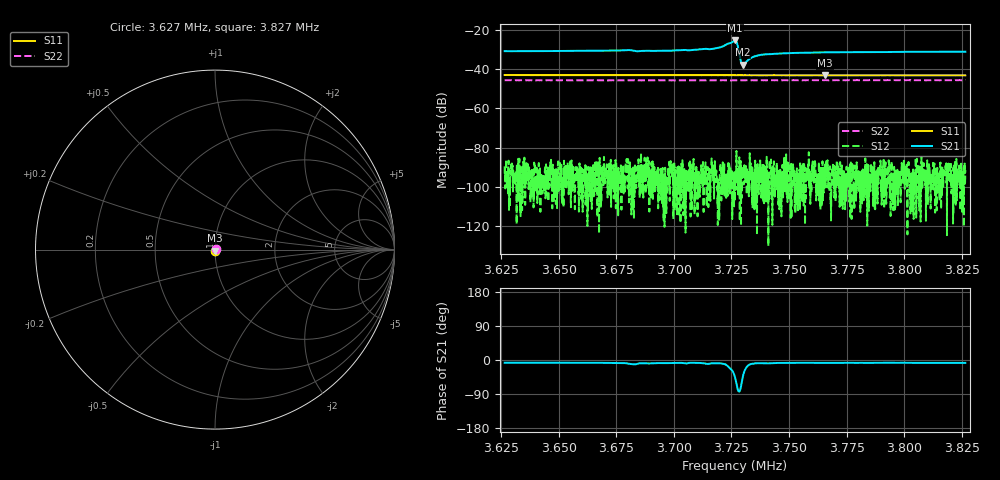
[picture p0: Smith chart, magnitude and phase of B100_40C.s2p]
# Hz S dB R 50.000
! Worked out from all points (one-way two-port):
!   6401 points, 3.627 MHz to 3.827 MHz, reference 50 ohm
!   highest |S21| = -25.43 dB at 3.727 MHz (marker M1); lowest = -37.8 dB at 3.73 MHz (marker M2)
!   lowest |S11| = -43.3 dB at 3.766 MHz (marker M3), VSWR 1.01, Z = 50 - j0.686 ohm
!   |S11| at or under -10 dB: start of sweep to end of sweep
!   |S22| runs from -45.8 to -45.5 dB; largest |S21 - S12| = 0.054
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3626563  -43.02 -92.7  -30.87 -7.1  -89.52 143.2  -45.71 12.9
3659907  -43.09 -92.6  -30.74 -7.5  -100.82 -106.2  -45.71 13.1
3680094  -43.08 -92.7  -30.30 -9.2  -89.63 3.9  -45.72 13.1
3684313  -43.12 -92.6  -30.94 -9.7  -90.01 16.5  -45.73 13.3
3693250  -43.09 -92.7  -30.69 -8.1  -103.73 131.0  -45.73 13.5
3716376  -43.15 -92.8  -29.79 -8.9  -86.40 119.9  -45.74 13.7
3720438  -43.12 -92.5  -28.81 -9.1  -89.12 33.6  -45.71 13.7
3726563  -43.15 -92.6  -25.43 -45.4  -102.45 137.0  -45.75 13.6
3727032  -43.19 -92.8  -25.70 -58.0  -96.01 21.2  -45.69 13.9
3727438  -43.15 -92.6  -26.76 -69.8  -94.37 18.3  -45.67 14.0
3727876  -43.15 -92.5  -28.84 -79.8  -102.48 -163.6  -45.68 13.6
3729000  -43.15 -92.6  -35.60 -74.6  -91.52 77.1  -45.72 14.0
3729438  -43.14 -92.6  -37.26 -61.2  -105.62 -139.7  -45.68 14.0
3729844  -43.14 -92.7  -37.80 -48.2  -90.31 59.5  -45.75 13.8
3730626  -43.14 -92.8  -37.22 -29.8  -88.90 38.4  -45.67 13.9
3732750  -43.13 -92.6  -34.97 -12.3  -97.59 17.8  -45.67 13.5
3734344  -43.11 -92.7  -33.86 -9.5  -94.97 108.4  -45.69 13.5
3738469  -43.17 -92.8  -32.63 -8.5  -96.12 -50.4  -45.70 14.0
3759907  -43.22 -92.8  -31.60 -7.5  -92.05 91.7  -45.65 13.7
3765626  -43.26 -93.0  -31.51 -7.4  -87.88 39.3  -45.71 13.7
3793250  -43.20 -93.1  -31.31 -7.1  -87.88 42.4  -45.64 14.1
3826563  -43.24 -93.2  -31.15 -7.6  -91.49 -51.3  -45.71 13.6
